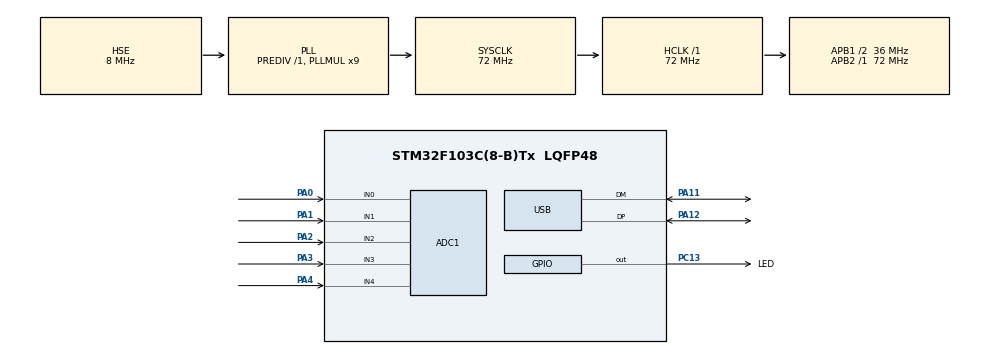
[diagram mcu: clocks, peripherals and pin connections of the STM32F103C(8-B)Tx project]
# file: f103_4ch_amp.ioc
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ADC1.Channel-3\#ChannelRegularConversion=ADC_CHANNEL_0
ADC1.Channel-4\#ChannelRegularConversion=ADC_CHANNEL_1
ADC1.Channel-5\#ChannelRegularConversion=ADC_CHANNEL_2
ADC1.Channel-7\#ChannelRegularConversion=ADC_CHANNEL_3
ADC1.Channel-8\#ChannelRegularConversion=ADC_CHANNEL_4
ADC1.EnableRegularConversion=ENABLE
ADC1.ExternalTrigConv=ADC_EXTERNALTRIGCONV_T3_TRGO
ADC1.NbrOfConversion=5
ADC1.NbrOfConversionFlag=1
ADC1.Rank-3\#ChannelRegularConversion=1
ADC1.Rank-4\#ChannelRegularConversion=2
ADC1.Rank-5\#ChannelRegularConversion=3
ADC1.Rank-7\#ChannelRegularConversion=4
ADC1.Rank-8\#ChannelRegularConversion=5
ADC1.SamplingTime-3\#ChannelRegularConversion=ADC_SAMPLETIME_71CYCLES_5
ADC1.SamplingTime-4\#ChannelRegularConversion=ADC_SAMPLETIME_71CYCLES_5
ADC1.SamplingTime-5\#ChannelRegularConversion=ADC_SAMPLETIME_71CYCLES_5
ADC1.SamplingTime-7\#ChannelRegularConversion=ADC_SAMPLETIME_71CYCLES_5
ADC1.SamplingTime-8\#ChannelRegularConversion=ADC_SAMPLETIME_71CYCLES_5
ADC1.master=1
Dma.ADC1.0.Direction=DMA_PERIPH_TO_MEMORY
Dma.ADC1.0.Instance=DMA1_Channel1
Dma.ADC1.0.MemDataAlignment=DMA_MDATAALIGN_HALFWORD
Dma.ADC1.0.MemInc=DMA_MINC_ENABLE
Dma.ADC1.0.Mode=DMA_CIRCULAR
Dma.ADC1.0.PeriphDataAlignment=DMA_PDATAALIGN_HALFWORD
Dma.ADC1.0.PeriphInc=DMA_PINC_DISABLE
Dma.ADC1.0.Priority=DMA_PRIORITY_LOW
Dma.Request0=ADC1
Mcu.Family=STM32F1
Mcu.Name=STM32F103C(8-B)Tx
Mcu.Package=LQFP48
NVIC.ADC1_2_IRQn=true\:0\:0\:false\:false\:true\:true\:true
NVIC.DMA1_Channel1_IRQn=true\:0\:0\:false\:false\:true\:false\:true
NVIC.PriorityGroup=NVIC_PRIORITYGROUP_4
NVIC.TIM2_IRQn=true\:0\:0\:false\:false\:true\:true\:true
NVIC.TIM3_IRQn=true\:0\:0\:false\:false\:true\:true\:true
NVIC.USB_LP_CAN1_RX0_IRQn=true\:0\:0\:false\:false\:true\:false\:true
PA0-WKUP.Signal=ADCx_IN0
PA1.Signal=ADCx_IN1
PA11.Mode=Device
PA11.Signal=USB_DM
PA12.Mode=Device
PA12.Signal=USB_DP
PA13.Mode=Serial_Wire
PA13.Signal=SYS_JTMS-SWDIO
PA14.Mode=Serial_Wire
PA14.Signal=SYS_JTCK-SWCLK
PA2.Signal=ADCx_IN2
PA3.Signal=ADCx_IN3
PA4.Signal=ADCx_IN4
PC13-TAMPER-RTC.GPIO_Label=LED
PC13-TAMPER-RTC.GPIO_ModeDefaultOutputPP=GPIO_MODE_OUTPUT_PP
PC13-TAMPER-RTC.GPIO_PuPd=GPIO_NOPULL
PC13-TAMPER-RTC.GPIO_Speed=GPIO_SPEED_FREQ_LOW
PC13-TAMPER-RTC.PinState=GPIO_PIN_RESET
PC13-TAMPER-RTC.Signal=GPIO_Output
PD0-OSC_IN.Mode=HSE-External-Oscillator
PD0-OSC_IN.Signal=RCC_OSC_IN
PD1-OSC_OUT.Mode=HSE-External-Oscillator
PD1-OSC_OUT.Signal=RCC_OSC_OUT
ProjectManager.HeapSize=0x200
ProjectManager.StackSize=0x400
ProjectManager.TargetToolchain=STM32CubeIDE
RCC.ADCPresc=RCC_ADCPCLK2_DIV6
RCC.AHBFreq_Value=72000000
RCC.APB1CLKDivider=RCC_HCLK_DIV2
RCC.APB1Freq_Value=36000000
RCC.APB1TimFreq_Value=72000000
RCC.APB2Freq_Value=72000000
RCC.APB2TimFreq_Value=72000000
RCC.HCLKFreq_Value=72000000
RCC.PLLMUL=RCC_PLL_MUL9
RCC.SYSCLKFreq_VALUE=72000000
RCC.SYSCLKSource=RCC_SYSCLKSOURCE_PLLCLK
RCC.USBFreq_Value=48000000
RCC.USBPrescaler=RCC_USBCLKSOURCE_PLL_DIV1_5
SH.ADCx_IN0.0=ADC1_IN0,IN0
SH.ADCx_IN1.0=ADC1_IN1,IN1
SH.ADCx_IN2.0=ADC1_IN2,IN2
SH.ADCx_IN3.0=ADC1_IN3,IN3
SH.ADCx_IN4.0=ADC1_IN4,IN4
TIM2.Period=1000
TIM2.Prescaler=36000
TIM3.AutoReloadPreload=TIM_AUTORELOAD_PRELOAD_ENABLE
TIM3.Period=100-1
TIM3.Prescaler=144-1
TIM3.TIM_MasterOutputTrigger=TIM_TRGO_UPDATE
USB_DEVICE.CLASS_NAME_FS=CDC
USB_DEVICE.VirtualMode=Cdc
USB_DEVICE.VirtualModeFS=Cdc_FS
VP_TIM2_VS_ClockSourceINT.Mode=Internal
VP_TIM3_VS_ClockSourceINT.Mode=Internal
VP_USB_DEVICE_VS_USB_DEVICE_CDC_FS.Mode=CDC_FS
board=custom

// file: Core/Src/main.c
/* USER CODE BEGIN Header */
/**
  ******************************************************************************
  * @file           : main.c
  * @brief          : Main program body
  ******************************************************************************
  * @attention
  *
  * <h2><center>&copy; Copyright (c) 2020 STMicroelectronics.
  * All rights reserved.</center></h2>
  *
  * This software component is licensed by ST under BSD 3-Clause license,
  * the "License"; You may not use this file except in compliance with the
  * License. You may obtain a copy of the License at:
  *                        opensource.org/licenses/BSD-3-Clause
  *
  ******************************************************************************
  */
/* USER CODE END Header */
#include "main.h"
#include "adc.h"
#include "dma.h"
#include "tim.h"
#include "usb_device.h"
#include "gpio.h"

/* USER CODE BEGIN Includes */
#include "string.h"
/* USER CODE END Includes */

void SystemClock_Config(void);

/* USER CODE BEGIN 0 */
uint8_t testDataToSend[] = {0xAD};

uint8_t TXValue;
uint16_t ADC_Data[500];
uint16_t  test[100] = {1200,1300,1400,1500};
char tx_buf[1000] ;
uint16_t string_pack[100];
uint8_t pack_done;
/* USER CODE END 0 */

int main(void)
{

  /* MCU Configuration--------------------------------------------------------*/

  /* Reset of all peripherals, Initializes the Flash interface and the Systick. */
  HAL_Init();

  /* Configure the system clock */
  SystemClock_Config();

  /* Initialize all configured peripherals */
  MX_GPIO_Init();
  MX_DMA_Init();
  MX_ADC1_Init();
  MX_USB_DEVICE_Init();
  MX_TIM2_Init();
  MX_TIM3_Init();
  /* USER CODE BEGIN 2 */
HAL_TIM_Base_Start_IT(&htim2);
HAL_TIM_Base_Start_IT(&htim3);
 HAL_ADC_Start_DMA(&hadc1,(uint32_t*) &ADC_Data,500);

  /* USER CODE END 2 */

  /* Infinite loop */
  /* USER CODE BEGIN WHILE */
  while (1)
  {
//		  HAL_Delay(1000);
//		  CDC_Transmit_FS(testDataToSend, 1);
	  if(pack_done)
		  {
		  for (uint16_t i = 0; i < 500; i=i+5) {

	  TXValue = sprintf(tx_buf, "%d %d %d %d %d\n\r", ADC_Data[i],ADC_Data[i+1], ADC_Data[i+2], ADC_Data[i+3], ADC_Data[i+4]);
	  CDC_Transmit_FS(tx_buf, TXValue );
		  }
		  }
    /* USER CODE END WHILE */

  }
}

void SystemClock_Config(void)
{
  RCC_OscInitTypeDef RCC_OscInitStruct = {0};
  RCC_ClkInitTypeDef RCC_ClkInitStruct = {0};
  RCC_PeriphCLKInitTypeDef PeriphClkInit = {0};

  /** Initializes the RCC Oscillators according to the specified parameters
  * in the RCC_OscInitTypeDef structure.
  */
  RCC_OscInitStruct.OscillatorType = RCC_OSCILLATORTYPE_HSE;
  RCC_OscInitStruct.HSEState = RCC_HSE_ON;
  RCC_OscInitStruct.HSEPredivValue = RCC_HSE_PREDIV_DIV1;
  RCC_OscInitStruct.HSIState = RCC_HSI_ON;
  RCC_OscInitStruct.PLL.PLLState = RCC_PLL_ON;
  RCC_OscInitStruct.PLL.PLLSource = RCC_PLLSOURCE_HSE;
  RCC_OscInitStruct.PLL.PLLMUL = RCC_PLL_MUL9;
  if (HAL_RCC_OscConfig(&RCC_OscInitStruct) != HAL_OK)
  {
    Error_Handler();
  }
  /** Initializes the CPU, AHB and APB buses clocks
  */
  RCC_ClkInitStruct.ClockType = RCC_CLOCKTYPE_HCLK|RCC_CLOCKTYPE_SYSCLK
                              |RCC_CLOCKTYPE_PCLK1|RCC_CLOCKTYPE_PCLK2;
  RCC_ClkInitStruct.SYSCLKSource = RCC_SYSCLKSOURCE_PLLCLK;
  RCC_ClkInitStruct.AHBCLKDivider = RCC_SYSCLK_DIV1;
  RCC_ClkInitStruct.APB1CLKDivider = RCC_HCLK_DIV2;
  RCC_ClkInitStruct.APB2CLKDivider = RCC_HCLK_DIV1;

  if (HAL_RCC_ClockConfig(&RCC_ClkInitStruct, FLASH_LATENCY_2) != HAL_OK)
  {
    Error_Handler();
  }
  PeriphClkInit.PeriphClockSelection = RCC_PERIPHCLK_ADC|RCC_PERIPHCLK_USB;
  PeriphClkInit.AdcClockSelection = RCC_ADCPCLK2_DIV6;
  PeriphClkInit.UsbClockSelection = RCC_USBCLKSOURCE_PLL_DIV1_5;
  if (HAL_RCCEx_PeriphCLKConfig(&PeriphClkInit) != HAL_OK)
  {
    Error_Handler();
  }
}

/* USER CODE BEGIN 4 */
void HAL_TIM_PeriodElapsedCallback(TIM_HandleTypeDef *htim) {
	HAL_GPIO_TogglePin(LED_GPIO_Port, LED_Pin);
}

void HAL_ADC_ConvCpltCallback(ADC_HandleTypeDef *hadc1)
{
	pack_done = 1;
}
/* USER CODE END 4 */

void Error_Handler(void)
{
}

/************************ (C) COPYRIGHT STMicroelectronics *****END OF FILE****/
